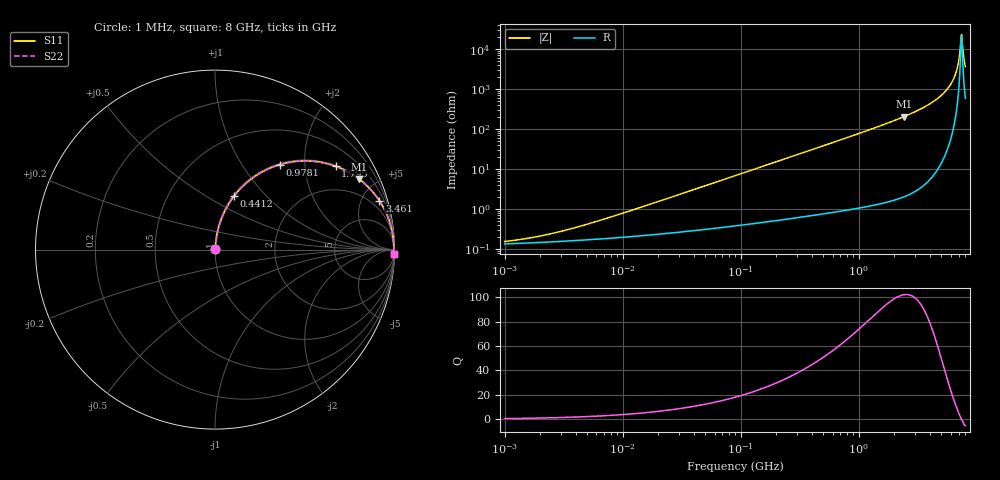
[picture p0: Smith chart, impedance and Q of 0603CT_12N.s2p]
# MHz  S  MA  R  50
!Freq  MagS11  AngS11  MagS21  AngS21  MagS12  AngS12  MagS22  AngS22
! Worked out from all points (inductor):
!   905 points, 1 MHz to 8 GHz, reference 50 ohm
!   read as one part in series: L = 12 nH near 7.244 MHz
!   highest Q = 102 at 2.419 GHz (marker M1), where L = 13.4 nH
!   self-resonance near 7.373 GHz
!   S11 on the Smith chart (normalised r, x): 1 MHz: 1.00, +0.00; 441.2 MHz: 1.01, +0.67; 978.1 MHz: 1.02, +1.50; 1.795 GHz: 1.03, +2.87; 3.461 GHz: 1.07, +6.67; 8 GHz: 13, -72
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1  0.001522 29.6  0.9987 -0.0  0.9987 -0.0  0.001522 29.6
2.047099  0.002113 46.7  0.9986 -0.1  0.9986 -0.1  0.002113 46.7
4.492907  0.003759 63.9  0.9984 -0.2  0.9984 -0.2  0.003759 63.9
20.18621  0.01536 80.5  0.9976 -0.9  0.9976 -0.9  0.01536 80.5
89.79682  0.06741 83.0  0.994 -3.9  0.994 -3.9  0.06741 83.0
199.054  0.1479 79.6  0.984 -8.5  0.984 -8.5  0.1479 79.6
403.4488  0.2901 71.9  0.9506 -16.9  0.9506 -16.9  0.2901 71.9
441.246  0.3148 70.4  0.9425 -18.3  0.9425 -18.3  0.3148 70.4
663.5247  0.4473 62.5  0.8869 -26.6  0.8869 -26.6  0.4473 62.5
978.1167  0.5964 52.6  0.7945 -36.6  0.7945 -36.6  0.5964 52.6
1794.711  0.8169 34.6  0.5683 -54.8  0.5683 -54.8  0.8169 34.6
2418.999  0.8946 26.0  0.4383 -63.4  0.4383 -63.4  0.8946 26.0
3461.028  0.9551 16.6  0.2862 -72.7  0.2862 -72.7  0.9551 16.6
4806.295  0.9847 9.1  0.1576 -79.9  0.1576 -79.9  0.9847 9.1
5923.24  0.9936 4.6  0.08057 -83.1  0.08057 -83.1  0.9936 4.6
6350.515  0.9951 3.2  0.05549 -83.4  0.05549 -83.4  0.9951 3.2
6674.455  0.9958 2.2  0.03772 -82.5  0.03772 -82.5  0.9958 2.2
6945.464  0.996 1.3  0.02362 -79.7  0.02362 -79.7  0.996 1.3
7227.478  0.9961 0.5  0.009927 -66.5  0.009927 -66.5  0.9961 0.5
7372.75  0.996 0.1  0.004469 -27.2  0.004469 -27.2  0.996 0.1
7596.152  0.9958 -0.5  0.009523 63.8  0.009523 63.8  0.9958 -0.5
8000  0.9952 -1.5  0.02739 79.1  0.02739 79.1  0.9952 -1.5
